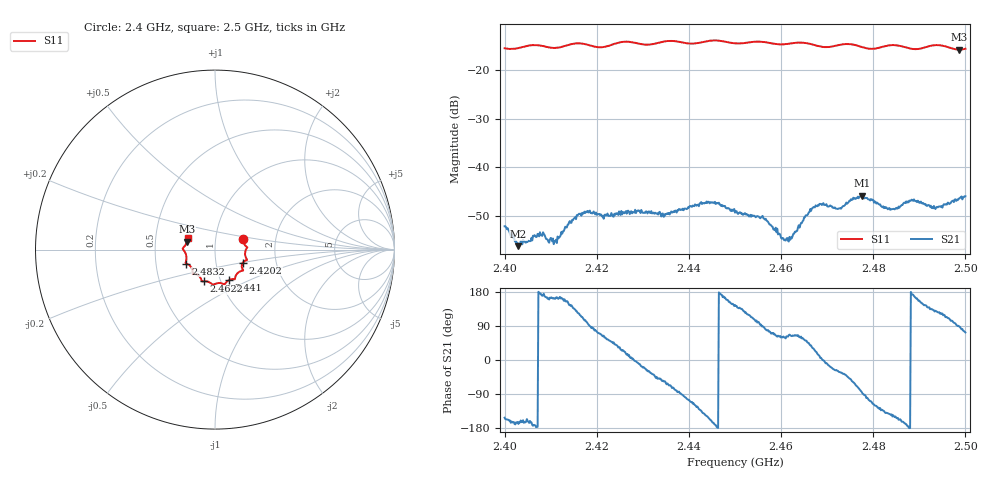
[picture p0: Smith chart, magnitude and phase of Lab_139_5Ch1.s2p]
# Hz S RI R 50
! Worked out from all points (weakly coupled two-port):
!   601 points, 2.4 GHz to 2.5 GHz, reference 50 ohm
!   highest |S21| = -45.85 dB at 2.4777 GHz (marker M1); lowest = -56.2 dB at 2.403 GHz (marker M2)
!   lowest |S11| = -15.8 dB at 2.4987 GHz (marker M3), VSWR 1.39, Z = 36.4 + j3.33 ohm
!   |S11| at or under -10 dB: start of sweep to end of sweep
!   S12 and S22 are empty: the file has one direction only
!   S11 on the Smith chart (normalised r, x): 2.4 GHz: 1.36, +0.17; 2.4202 GHz: 1.35, -0.20; 2.441 GHz: 1.09, -0.39; 2.4622 GHz: 0.83, -0.30; 2.4832 GHz: 0.72, -0.12; 2.5 GHz: 0.73, +0.09
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2.4e9  0.156 0.0601  -0.0022 -0.00115  0 0  0 0
2.403e9  0.1658 0.0263  -0.00152 -0.000302  0 0  0 0
2.408167e9  0.1763 0.00764  -0.00194 0.000362  0 0  0 0
2.411167e9  0.1672 -0.021  -0.00174 0.000469  0 0  0 0
2.416667e9  0.1777 -0.0584  -0.00129 0.00291  0 0  0 0
2.420167e9  0.1559 -0.072  0.000993 0.00313  0 0  0 0
2.433333e9  0.1131 -0.1525  0.00214 -0.00247  0 0  0 0
2.441e9  0.0766 -0.1703  -0.00164 -0.00366  0 0  0 0
2.445167e9  0.0539 -0.1934  -0.00422 -0.0011  0 0  0 0
2.45e9  0.0264 -0.186  -0.00281 0.00195  0 0  0 0
2.456167e9  -0.0143 -0.1935  0.000124 0.00299  0 0  0 0
2.4605e9  -0.0482 -0.177  0.000874 0.00165  0 0  0 0
2.462167e9  -0.0633 -0.1766  0.000845 0.00171  0 0  0 0
2.466667e9  -0.0765 -0.1668  0.00312 0.00213  0 0  0 0
2.472667e9  -0.1192 -0.1362  0.00322 -0.00199  0 0  0 0
2.477667e9  -0.1253 -0.1169  0.000152 -0.00509  0 0  0 0
2.483167e9  -0.1602 -0.0779  -0.00286 -0.00236  0 0  0 0
2.483333e9  -0.161 -0.0774  -0.00295 -0.00234  0 0  0 0
2.488333e9  -0.1591 -0.0435  -0.00462 0.000505  0 0  0 0
2.493833e9  -0.18 0.0061  -0.00239 0.00311  0 0  0 0
2.498667e9  -0.1555 0.0445  0.00014 0.00476  0 0  0 0
2.5e9  -0.1526 0.0632  0.0015 0.00482  0 0  0 0
